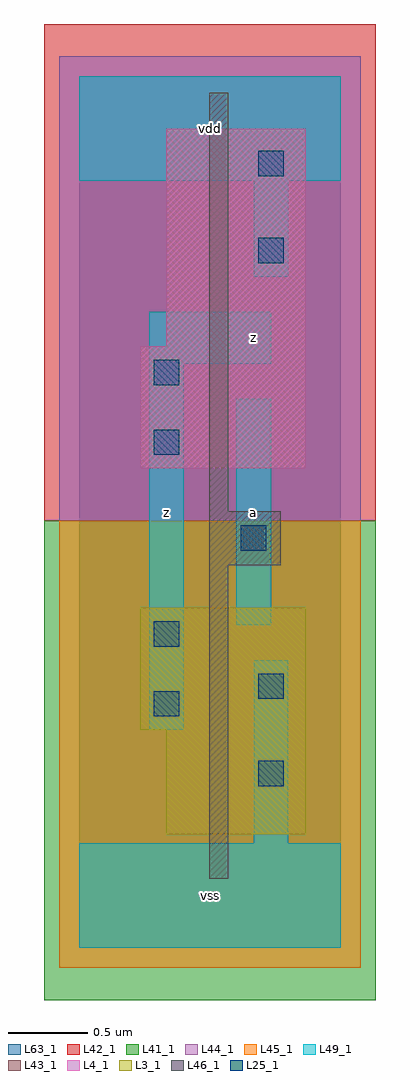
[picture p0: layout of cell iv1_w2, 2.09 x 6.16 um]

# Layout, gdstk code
import gdstk
lib = gdstk.Library(unit=1e-6, precision=1e-09)
def R(c, l, rs):  # rectangles x0, y0, x1, y1
    for r in rs: c.add(gdstk.rectangle(r[:2], r[2:], *l))
L3_1 = (3, 1)
L4_1 = (4, 1)
L25_1 = (25, 1)
L41_1 = (41, 1)
L42_1 = (42, 1)
L43_1 = (43, 1)
L44_1 = (44, 1)
L45_1 = (45, 1)
L46_1 = (46, 1)
L49_1 = (49, 1)
L63_1 = (63, 1)

iv1_w2 = lib.new_cell('iv1_w2')
R(iv1_w2, L3_1, [(0.55,0.715,1.43,1.375), (0.385,1.375,1.43,2.145)])
R(iv1_w2, L4_1, [(0.385,3.025,1.43,3.795), (0.55,3.795,1.43,5.17)])
R(iv1_w2, L25_1, [(1.13,1.02,1.29,1.18), (0.47,1.46,0.63,1.62), (1.13,1.57,1.29,1.73), (0.47,1.9,0.63,2.06), (1.02,2.505,1.18,2.665), (0.47,3.11,0.63,3.27), (0.47,3.55,0.63,3.71), (1.13,4.32,1.29,4.48), (1.13,4.87,1.29,5.03)])
R(iv1_w2, L41_1, [(-0.22,-0.33,1.87,2.695)])
R(iv1_w2, L42_1, [(-0.22,2.695,1.87,5.83)])
R(iv1_w2, L43_1, [(0.55,0.715,1.43,1.375), (0.385,1.375,1.43,2.145), (0.385,3.025,1.43,3.795), (0.55,3.795,1.43,5.17)])
R(iv1_w2, L44_1, [(-0.125,2.695,1.775,5.625)])
R(iv1_w2, L45_1, [(-0.125,-0.125,1.775,2.695)])
R(iv1_w2, L46_1, [(0.82,0.435,0.94,2.415), (0.82,2.415,1.27,2.755), (0.82,2.755,0.94,5.395)])
R(iv1_w2, L49_1, [(0,0,1.65,0.66), (1.1,0.66,1.32,1.815), (0.44,1.375,0.66,3.685), (0.99,2.035,1.21,3.465), (0.44,3.685,1.21,4.015), (1.1,4.235,1.32,4.84), (0,4.84,1.65,5.5)])
R(iv1_w2, L63_1, [(0,0,1.65,5.5)])
iv1_w2.add(gdstk.Label('z', (0.55,2.75), layer=49, texttype=1))
iv1_w2.add(gdstk.Label('z', (0.55,2.75), layer=49, texttype=1))
iv1_w2.add(gdstk.Label('vss', (0.825,0.33), layer=49, texttype=1))
iv1_w2.add(gdstk.Label('vss', (0.825,0.33), layer=49, texttype=1))
iv1_w2.add(gdstk.Label('a', (1.1,2.75), layer=49, texttype=1))
iv1_w2.add(gdstk.Label('a', (1.1,2.75), layer=49, texttype=1))
iv1_w2.add(gdstk.Label('z', (1.1,3.85), layer=49, texttype=1))
iv1_w2.add(gdstk.Label('z', (1.1,3.85), layer=49, texttype=1))
iv1_w2.add(gdstk.Label('vdd', (0.825,5.17), layer=49, texttype=1))
iv1_w2.add(gdstk.Label('vdd', (0.825,5.17), layer=49, texttype=1))

lib.write_gds('iv1_w2.gds')
